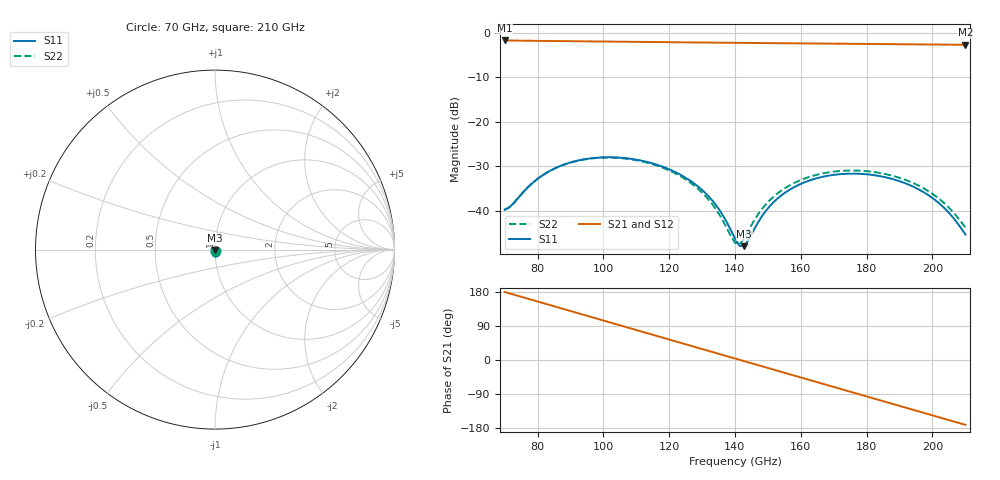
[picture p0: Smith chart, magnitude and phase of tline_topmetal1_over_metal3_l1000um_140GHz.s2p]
#  GHZ S DB R 50
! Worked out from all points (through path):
!   101 points, 70 GHz to 210 GHz, reference 50 ohm
!   highest |S21| = -1.69 dB at 70 GHz (marker M1); lowest = -2.7 dB at 210 GHz (marker M2)
!   group delay of S21, straight-line fit = 6.96 ps
!   lowest |S11| = -47.9 dB at 142.8 GHz (marker M3), VSWR 1.01, Z = 50.1 - j0.393 ohm
!   |S11| at or under -10 dB: start of sweep to end of sweep
!   |S22| runs from -47.5 to -28.0 dB; largest |S21 - S12| = 1.4e-13
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70  -39.75 -72.8  -1.69 179.6  -1.69 179.6  -39.74 -71.9
75.6  -35.87 -39.0  -1.74 165.5  -1.74 165.5  -35.83 -38.6
82.6  -31.51 -39.3  -1.80 147.9  -1.80 147.9  -31.50 -39.1
93.8  -28.46 -59.3  -1.89 119.8  -1.89 119.8  -28.50 -59.1
105  -28.04 -84.1  -1.97 91.7  -1.97 91.7  -28.13 -83.8
110.6  -28.57 -96.8  -2.01 77.6  -2.01 77.6  -28.71 -96.4
117.6  -29.97 -112.5  -2.06 60.0  -2.06 60.0  -30.19 -111.9
126  -33.03 -129.8  -2.12 39.0  -2.12 39.0  -33.45 -128.6
131.6  -36.45 -138.5  -2.16 25.0  -2.16 25.0  -37.16 -136.1
135.8  -40.40 -139.7  -2.19 14.4  -2.19 14.4  -41.53 -134.0
140  -46.26 -120.6  -2.22 3.9  -2.22 3.9  -47.19 -101.6
141.4  -47.89 -101.7  -2.23 0.4  -2.23 0.4  -47.50 -78.8
142.8  -47.95 -78.0  -2.24 -3.1  -2.24 -3.1  -46.21 -59.3
147  -42.58 -42.8  -2.27 -13.6  -2.27 -13.6  -40.80 -38.2
151.2  -38.45 -40.3  -2.30 -24.1  -2.30 -24.1  -37.17 -38.7
156.8  -35.16 -47.7  -2.33 -38.1  -2.33 -38.1  -34.19 -47.0
163.8  -32.89 -61.4  -2.37 -55.6  -2.37 -55.6  -32.10 -61.0
176.4  -31.64 -89.1  -2.45 -87.1  -2.45 -87.1  -30.94 -88.8
187.6  -32.80 -113.7  -2.52 -115.1  -2.52 -115.1  -32.06 -113.3
200.2  -37.22 -136.8  -2.60 -146.6  -2.60 -146.6  -36.28 -136.3
205.8  -41.11 -140.0  -2.64 -160.6  -2.64 -160.6  -39.90 -140.0
210  -45.32 -129.2  -2.66 -171.1  -2.66 -171.1  -43.77 -131.6
